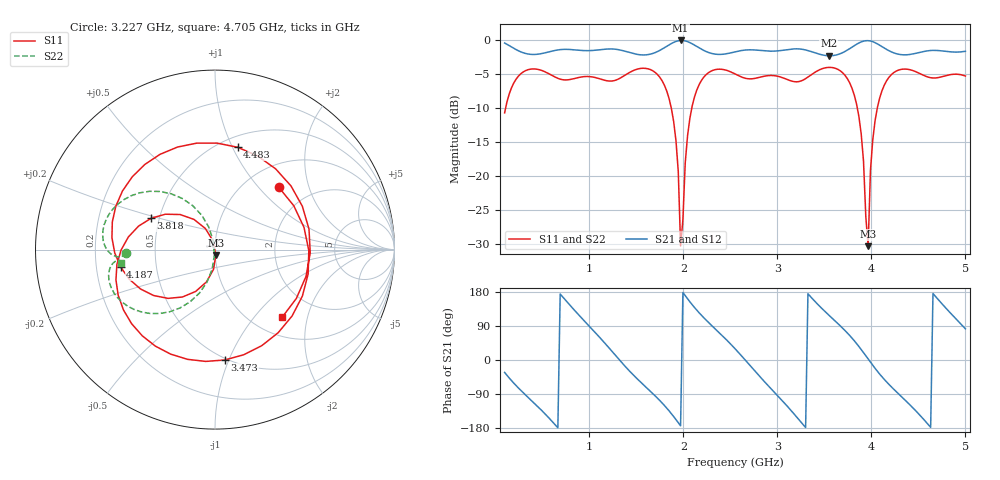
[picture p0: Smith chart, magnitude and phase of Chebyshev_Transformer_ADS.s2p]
! Created Thu Jun 26 07:35:08 2025
# hz S ma R 50
! 2 Port Network Data from SP1.SP block
! freq  magS11  angS11  magS21  angS21  magS12  angS12  magS22  angS22
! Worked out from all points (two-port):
!   200 points, 100 MHz to 5 GHz, reference 50 ohm
!   highest |S21| = -0.01 dB at 1.971 GHz (marker M1); lowest = -2.3 dB at 3.547 GHz (marker M2)
!   |S21| within 3 dB of the highest: start of sweep to end of sweep
!   lowest |S11| = -30.3 dB at 3.966 GHz (marker M3), VSWR 1.06, Z = 50.4 - j3.04 ohm
!   |S11| at or under -10 dB: start of sweep to 110.4 MHz; 1.873 GHz to 2.09 GHz (217 MHz wide, 11 % of centre); 3.851 GHz to 4.063 GHz (211.7 MHz wide, 5.35 % of centre)
!   |S22| runs from -30.1 to -4.0 dB; largest |S21 - S12| = 0
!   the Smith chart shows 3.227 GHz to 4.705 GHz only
!   S11 on the Smith chart (normalised r, x): 3.227 GHz: 1.40, +1.30; 3.473 GHz: 0.49, -0.97; 3.818 GHz: 0.45, +0.19; 4.187 GHz: 0.31, -0.08; 4.483 GHz: 0.61, +1.05; 4.705 GHz: 1.34, -1.41
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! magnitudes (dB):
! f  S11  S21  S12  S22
! 100 MHz  -10.7  -0.4  -0.4  -10.7
! 937.2 MHz  -5.3  -1.5  -1.5  -5.3
! 1.75 GHz  -5.4  -1.5  -1.5  -5.4
! 1.897 GHz  -11.9  -0.3  -0.3  -11.9
! 1.947 GHz  -19.3  -0.1  -0.1  -19.3
! 1.971 GHz  -30.3  0.0  0.0  -30.1
! 2.045 GHz  -14.1  -0.2  -0.2  -14.1
! 2.119 GHz  -8.3  -0.7  -0.7  -8.3
! 2.562 GHz  -5.0  -1.7  -1.7  -5.0
! 3.227 GHz  -6.1  -1.3  -1.3  -6.1
! 3.375 GHz  -4.9  -1.7  -1.7  -4.9
! 3.473 GHz  -4.2  -2.1  -2.1  -4.2
! 3.547 GHz  -4.0  -2.3  -2.3  -4.0
! 3.818 GHz  -8.0  -0.8  -0.8  -8.0
! 3.892 GHz  -13.8  -0.2  -0.2  -13.8
! 3.966 GHz  -30.3  0.0  0.0  -30.1
! 3.99 GHz  -19.2  -0.1  -0.1  -19.1
! 4.04 GHz  -11.8  -0.3  -0.3  -11.8
! 4.187 GHz  -5.4  -1.5  -1.5  -5.4
! 4.483 GHz  -4.7  -1.9  -1.9  -4.7
! 4.705 GHz  -5.5  -1.5  -1.5  -5.5
! 5 GHz  -5.3  -1.6  -1.6  -5.2
